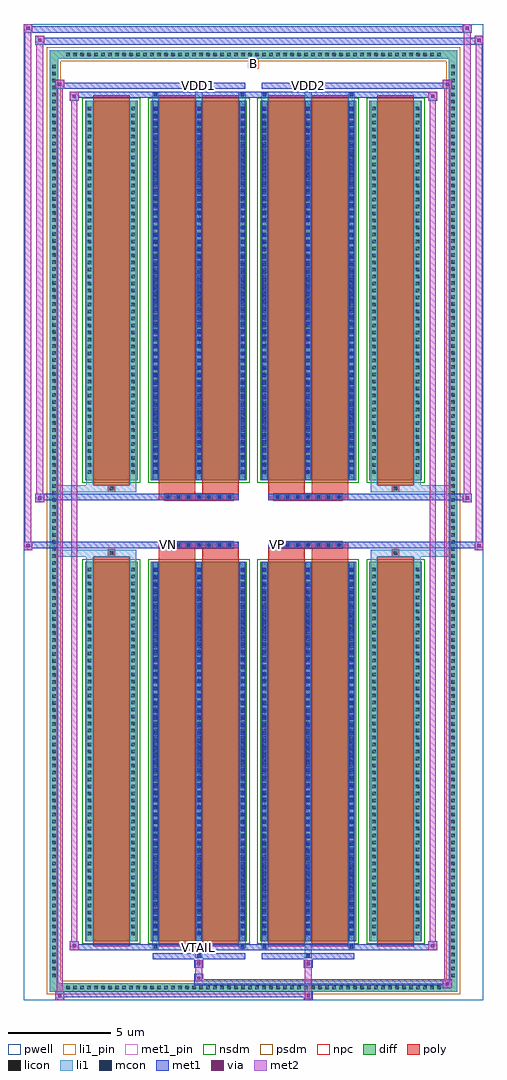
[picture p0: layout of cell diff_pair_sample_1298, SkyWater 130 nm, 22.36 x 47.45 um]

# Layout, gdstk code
import gdstk
lib = gdstk.Library(unit=1e-6, precision=5e-09)
def R(c, l, rs):  # rectangles x0, y0, x1, y1
    for r in rs: c.add(gdstk.rectangle(r[:2], r[2:], *l))
def A(c, l, x, y, w, h, nx, ny, dx, dy):  # array of equal rectangles
    R(c, l, [(x+i*dx, y+j*dy, x+i*dx+w, y+j*dy+h) for i in range(nx) for j in range(ny)])
def P(c, l, *ps):  # polygons
    for p in ps: c.add(gdstk.Polygon(p, *l))
pwell = (64, 44)
diff = (65, 20)
poly = (66, 20)
licon = (66, 44)
li1_pin = (67, 16)
li1 = (67, 20)
mcon = (67, 44)
met1_pin = (68, 16)
met1 = (68, 20)
via = (68, 44)
met2 = (69, 20)
nsdm = (93, 44)
psdm = (94, 20)
npc = (95, 20)

diff_pair_sample_1298 = lib.new_cell('diff_pair_sample_1298')
R(diff_pair_sample_1298, pwell, [(-11.18,-23.29,11.18,24.16), (-8.5,-21.48,-0.01,-0.8), (0.01,-21.48,8.5,-0.8), (-8.5,0.8,-0.01,21.48), (0.01,0.8,8.5,21.48)])
A(diff_pair_sample_1298, diff, -9.215, -22.89, 0.41, 0.41, 54, 2, 0.34, 45.37)
A(diff_pair_sample_1298, diff, -9.91, -22.305, 0.41, 0.41, 1, 131, 0, 0.34)
A(diff_pair_sample_1298, diff, 9.5, -22.305, 0.41, 0.41, 1, 131, 0, 0.34)
R(diff_pair_sample_1298, diff, [(-9.215,-22.89,9.215,-22.48), (-9.91,-22.305,-9.5,22.305), (9.5,-22.305,9.91,22.305), (-8.19,-20.435,-5.63,-1.985), (-4.99,-20.435,-0.32,-1.985), (0.32,-20.435,4.99,-1.985), (5.63,-20.435,8.19,-1.985), (-8.19,1.985,-5.63,20.435), (-4.99,1.985,-0.32,20.435), (0.32,1.985,4.99,20.435), (5.63,1.985,8.19,20.435), (-9.215,22.48,9.215,22.89)])
P(diff_pair_sample_1298, diff, [(9.91,22.89),(-9.91,22.89),(-9.91,-22.48),(-9.5,-22.48),(-9.5,22.48),(9.5,22.48),(9.5,-22.48),(-9.5,-22.48),(-9.91,-22.48),(-9.91,-22.89),(9.91,-22.89)])
A(diff_pair_sample_1298, poly, -4.32, -1.33, 0.33, 0.33, 7, 2, 0.5, 2.33)
A(diff_pair_sample_1298, poly, 0.99, -1.33, 0.33, 0.33, 7, 2, 0.5, 2.33)
R(diff_pair_sample_1298, poly, [(-7.8,-20.685,-6.02,-1.735), (-4.6,-20.685,-2.82,-1.735), (-2.49,-20.685,-0.71,-1.735), (0.71,-20.685,2.49,-1.735), (2.82,-20.685,4.6,-1.735), (6.02,-20.685,7.8,-1.735), (-7.075,-1.735,-6.745,-1.405), (-7.075,-1.735,-6.745,-1.405), (-4.6,-1.735,-2.82,-1.33), (-2.49,-1.735,-0.71,-1.33), (0.71,-1.735,2.49,-1.33), (2.82,-1.735,4.6,-1.33), (6.745,-1.735,7.075,-1.405), (6.745,-1.735,7.075,-1.405), (-4.6,-1.33,-0.71,-1), (0.71,-1.33,4.6,-1), (-4.6,1,-0.71,1.33), (0.71,1,4.6,1.33), (-4.6,1.33,-2.82,1.735), (-2.49,1.33,-0.71,1.735), (0.71,1.33,2.49,1.735), (2.82,1.33,4.6,1.735), (-7.075,1.405,-6.745,1.735), (-7.075,1.405,-6.745,1.735), (6.745,1.405,7.075,1.735), (6.745,1.405,7.075,1.735), (-7.8,1.735,-6.02,20.685), (-4.6,1.735,-2.82,20.685), (-2.49,1.735,-0.71,20.685), (0.71,1.735,2.49,20.685), (2.82,1.735,4.6,20.685), (6.02,1.735,7.8,20.685)])
A(diff_pair_sample_1298, licon, -9.095, -22.77, 0.17, 0.17, 54, 2, 0.34, 45.37)
A(diff_pair_sample_1298, licon, -9.79, -22.185, 0.17, 0.17, 1, 131, 0, 0.34)
A(diff_pair_sample_1298, licon, 9.62, -22.185, 0.17, 0.17, 1, 131, 0, 0.34)
A(diff_pair_sample_1298, licon, -8.05, -20.135, 0.17, 0.17, 1, 53, 0, 0.34)
A(diff_pair_sample_1298, licon, -5.94, -20.135, 0.17, 0.17, 1, 53, 0, 0.34)
A(diff_pair_sample_1298, licon, -4.85, -20.135, 0.17, 0.17, 3, 53, 2.11, 0.34)
A(diff_pair_sample_1298, licon, 0.46, -20.135, 0.17, 0.17, 3, 53, 2.11, 0.34)
A(diff_pair_sample_1298, licon, 5.77, -20.135, 0.17, 0.17, 1, 53, 0, 0.34)
A(diff_pair_sample_1298, licon, 7.88, -20.135, 0.17, 0.17, 1, 53, 0, 0.34)
A(diff_pair_sample_1298, licon, -4.24, -1.25, 0.17, 0.17, 7, 2, 0.5, 2.33)
A(diff_pair_sample_1298, licon, 1.07, -1.25, 0.17, 0.17, 7, 2, 0.5, 2.33)
A(diff_pair_sample_1298, licon, -8.05, 2.285, 0.17, 0.17, 1, 53, 0, 0.34)
A(diff_pair_sample_1298, licon, -5.94, 2.285, 0.17, 0.17, 1, 53, 0, 0.34)
A(diff_pair_sample_1298, licon, -4.85, 2.285, 0.17, 0.17, 3, 53, 2.11, 0.34)
A(diff_pair_sample_1298, licon, 0.46, 2.285, 0.17, 0.17, 3, 53, 2.11, 0.34)
A(diff_pair_sample_1298, licon, 5.77, 2.285, 0.17, 0.17, 1, 53, 0, 0.34)
A(diff_pair_sample_1298, licon, 7.88, 2.285, 0.17, 0.17, 1, 53, 0, 0.34)
R(diff_pair_sample_1298, licon, [(-6.995,-1.655,-6.825,-1.485), (6.825,-1.655,6.995,-1.485), (-6.995,1.485,-6.825,1.655), (6.825,1.485,6.995,1.655)])
R(diff_pair_sample_1298, li1_pin, [(-0.25,21.98,0.25,22.48)])
A(diff_pair_sample_1298, li1, -9.175, -22.85, 0.33, 0.33, 54, 2, 0.34, 45.37)
A(diff_pair_sample_1298, li1, -9.87, -22.265, 0.33, 0.33, 1, 131, 0, 0.34)
A(diff_pair_sample_1298, li1, 9.54, -22.265, 0.33, 0.33, 1, 131, 0, 0.34)
A(diff_pair_sample_1298, li1, -4.93, -20.435, 0.33, 18.45, 3, 2, 2.11, 22.42)
A(diff_pair_sample_1298, li1, 0.38, -20.435, 0.33, 18.45, 3, 2, 2.11, 22.42)
A(diff_pair_sample_1298, li1, -8.13, -20.215, 0.33, 0.33, 1, 53, 0, 0.34)
A(diff_pair_sample_1298, li1, -6.02, -20.215, 0.33, 0.33, 1, 53, 0, 0.34)
A(diff_pair_sample_1298, li1, -4.93, -20.215, 0.33, 0.33, 3, 53, 2.11, 0.34)
A(diff_pair_sample_1298, li1, 0.38, -20.215, 0.33, 0.33, 3, 53, 2.11, 0.34)
A(diff_pair_sample_1298, li1, 5.69, -20.215, 0.33, 0.33, 1, 53, 0, 0.34)
A(diff_pair_sample_1298, li1, 7.8, -20.215, 0.33, 0.33, 1, 53, 0, 0.34)
A(diff_pair_sample_1298, li1, -4.85, -20.115, 0.17, 0.17, 3, 50, 2.11, 0.36)
A(diff_pair_sample_1298, li1, -4.85, -20.115, 0.17, 17.81, 3, 2, 2.11, 22.42)
A(diff_pair_sample_1298, li1, 0.46, -20.115, 0.17, 0.17, 3, 50, 2.11, 0.36)
A(diff_pair_sample_1298, li1, 0.46, -20.115, 0.17, 17.81, 3, 2, 2.11, 22.42)
A(diff_pair_sample_1298, li1, -4.32, -1.33, 0.33, 0.33, 7, 2, 0.5, 2.33)
A(diff_pair_sample_1298, li1, 0.99, -1.33, 0.33, 0.33, 7, 2, 0.5, 2.33)
A(diff_pair_sample_1298, li1, -8.13, 2.205, 0.33, 0.33, 1, 53, 0, 0.34)
A(diff_pair_sample_1298, li1, -6.02, 2.205, 0.33, 0.33, 1, 53, 0, 0.34)
A(diff_pair_sample_1298, li1, -4.93, 2.205, 0.33, 0.33, 3, 53, 2.11, 0.34)
A(diff_pair_sample_1298, li1, 0.38, 2.205, 0.33, 0.33, 3, 53, 2.11, 0.34)
A(diff_pair_sample_1298, li1, 5.69, 2.205, 0.33, 0.33, 1, 53, 0, 0.34)
A(diff_pair_sample_1298, li1, 7.8, 2.205, 0.33, 0.33, 1, 53, 0, 0.34)
A(diff_pair_sample_1298, li1, -4.85, 2.305, 0.17, 0.17, 3, 50, 2.11, 0.36)
A(diff_pair_sample_1298, li1, 0.46, 2.305, 0.17, 0.17, 3, 50, 2.11, 0.36)
R(diff_pair_sample_1298, li1, [(-9.91,-22.89,-9.5,-22.48), (-9.91,-22.89,-9.5,-22.48), (-9.5,-22.89,9.5,-22.48), (9.5,-22.89,9.91,-22.48), (9.5,-22.89,9.91,-22.48), (-9.91,-22.48,-9.5,22.48), (9.5,-22.48,9.91,22.48), (-2.82,-21.24,-2.49,-20.435), (-2.74,-21.24,-2.57,-21.07), (2.49,-21.24,2.82,-20.435), (2.57,-21.24,2.74,-21.07), (-4.93,-20.81,-4.6,-20.435), (-4.85,-20.81,-4.68,-20.64), (-0.71,-20.81,-0.38,-20.435), (-0.63,-20.81,-0.46,-20.64), (0.38,-20.81,0.71,-20.435), (0.46,-20.81,0.63,-20.64), (4.6,-20.81,4.93,-20.435), (4.68,-20.81,4.85,-20.64), (-8.13,-20.435,-7.8,-1.985), (-6.02,-20.435,-5.69,-1.985), (5.69,-20.435,6.02,-1.985), (7.8,-20.435,8.13,-1.985), (-8.13,-1.985,-7.8,-1.405), (-6.02,-1.985,-5.69,-1.405), (5.69,-1.985,6.02,-1.405), (7.8,-1.985,8.13,-1.405), (-9.91,-1.735,-7.075,-1.405), (-8.13,-1.735,-7.075,-1.405), (-7.075,-1.735,-6.745,-1.405), (-6.745,-1.735,-5.69,-1.405), (5.69,-1.735,6.745,-1.405), (6.745,-1.735,7.075,-1.405), (6.745,-1.735,9.91,-1.405), (7.075,-1.735,8.13,-1.405), (-9.91,1.405,-7.075,1.735), (-8.13,1.405,-7.075,1.735), (-8.13,1.405,-7.8,1.985), (-7.075,1.405,-6.745,1.735), (-6.745,1.405,-5.69,1.735), (-6.02,1.405,-5.69,1.985), (5.69,1.405,6.745,1.735), (5.69,1.405,6.02,1.985), (6.745,1.405,7.075,1.735), (6.745,1.405,9.91,1.735), (7.075,1.405,8.13,1.735), (7.8,1.405,8.13,1.985), (-8.13,1.985,-7.8,20.435), (-6.02,1.985,-5.69,20.435), (5.69,1.985,6.02,20.435), (7.8,1.985,8.13,20.435), (-4.93,20.435,-4.6,20.81), (-2.82,20.435,-2.49,21.24), (-0.71,20.435,-0.38,20.81), (0.38,20.435,0.71,20.81), (2.49,20.435,2.82,21.24), (4.6,20.435,4.93,20.81), (-4.85,20.64,-4.68,20.81), (-0.63,20.64,-0.46,20.81), (0.46,20.64,0.63,20.81), (4.68,20.64,4.85,20.81), (-2.74,21.07,-2.57,21.24), (2.57,21.07,2.74,21.24), (-9.91,22.48,-9.5,22.89), (-9.91,22.48,-9.5,22.89), (-9.5,22.48,9.5,22.89), (9.5,22.48,9.91,22.89), (9.5,22.48,9.91,22.89)])
A(diff_pair_sample_1298, mcon, -4.85, -20.115, 0.17, 0.17, 3, 50, 2.11, 0.36)
A(diff_pair_sample_1298, mcon, 0.46, -20.115, 0.17, 0.17, 3, 50, 2.11, 0.36)
A(diff_pair_sample_1298, mcon, -4.24, -1.25, 0.17, 0.17, 7, 2, 0.5, 2.33)
A(diff_pair_sample_1298, mcon, 1.07, -1.25, 0.17, 0.17, 7, 2, 0.5, 2.33)
A(diff_pair_sample_1298, mcon, -4.85, 2.305, 0.17, 0.17, 3, 50, 2.11, 0.36)
A(diff_pair_sample_1298, mcon, 0.46, 2.305, 0.17, 0.17, 3, 50, 2.11, 0.36)
R(diff_pair_sample_1298, mcon, [(-2.74,-21.24,-2.57,-21.07), (2.57,-21.24,2.74,-21.07), (-4.85,-20.81,-4.68,-20.64), (-0.63,-20.81,-0.46,-20.64), (0.46,-20.81,0.63,-20.64), (4.68,-20.81,4.85,-20.64), (-4.85,20.64,-4.68,20.81), (-0.63,20.64,-0.46,20.81), (0.46,20.64,0.63,20.81), (4.68,20.64,4.85,20.81), (-2.74,21.07,-2.57,21.24), (2.57,21.07,2.74,21.24)])
R(diff_pair_sample_1298, met1_pin, [(-2.79,-20.85,-2.52,-20.58), (-4.29,-1.29,-4.02,-1.02), (1.02,-1.29,1.29,-1.02), (-2.79,21.03,-2.52,21.3), (2.52,21.03,2.79,21.3)])
A(diff_pair_sample_1298, met1, -4.91, -20.435, 0.29, 18.45, 3, 2, 2.11, 22.42)
A(diff_pair_sample_1298, met1, 0.4, -20.435, 0.29, 18.45, 3, 2, 2.11, 22.42)
A(diff_pair_sample_1298, met1, -4.91, -20.175, 0.29, 0.29, 3, 50, 2.11, 0.36)
A(diff_pair_sample_1298, met1, 0.4, -20.175, 0.29, 0.29, 3, 50, 2.11, 0.36)
A(diff_pair_sample_1298, met1, -4.3, -1.31, 0.29, 0.29, 7, 2, 0.5, 2.33)
A(diff_pair_sample_1298, met1, 1.01, -1.31, 0.29, 0.29, 7, 2, 0.5, 2.33)
A(diff_pair_sample_1298, met1, -4.91, 2.245, 0.29, 0.29, 3, 50, 2.11, 0.36)
A(diff_pair_sample_1298, met1, 0.4, 2.245, 0.29, 0.29, 3, 50, 2.11, 0.36)
R(diff_pair_sample_1298, met1, [(-9.64,-23.29,-9.21,-22.86), (2.44,-23.29,2.87,-22.86), (-9.64,-23.15,2.87,-22.86), (9.21,-22.72,9.64,-22.29), (-2.87,-22.58,9.64,-22.29), (-2.87,-22.44,-2.44,-22.01), (-2.87,-21.73,-2.44,-21.3), (2.44,-21.73,2.87,-21.3), (-4.91,-21.3,-0.4,-21.01), (-2.8,-21.3,-2.51,-21.01), (0.4,-21.3,4.91,-21.01), (2.51,-21.3,2.8,-21.01), (-8.93,-20.87,-8.5,-20.44), (-8.93,-20.87,-4.91,-20.58), (-4.91,-20.87,-4.62,-20.58), (-4.91,-20.87,-0.4,-20.58), (-0.69,-20.87,-0.4,-20.58), (-0.4,-20.87,0.4,-20.58), (0.4,-20.87,0.69,-20.58), (0.4,-20.87,4.91,-20.58), (4.62,-20.87,4.91,-20.58), (4.91,-20.87,8.93,-20.58), (8.5,-20.87,8.93,-20.44), (-11.18,-1.43,-10.75,-1), (10.75,-1.43,11.18,-1), (-11.18,-1.33,-0.71,-1), (-4.6,-1.33,-0.71,-1), (0.71,-1.33,4.6,-1), (0.71,-1.33,11.18,-1), (-10.61,0.9,-10.18,1.33), (10.18,0.9,10.61,1.33), (-10.61,1,-4.6,1.33), (-4.6,1,-0.71,1.33), (0.71,1,4.6,1.33), (4.6,1,10.61,1.33), (-8.93,20.44,-8.5,20.87), (8.5,20.44,8.93,20.87), (-8.93,20.58,-4.91,20.87), (-4.91,20.58,-4.62,20.87), (-4.91,20.58,-0.4,20.87), (-0.69,20.58,-0.4,20.87), (-0.4,20.58,0.4,20.87), (0.4,20.58,0.69,20.87), (0.4,20.58,4.91,20.87), (4.62,20.58,4.91,20.87), (4.91,20.58,8.93,20.87), (-9.64,21.01,-9.21,21.44), (-9.64,21.01,-4.91,21.3), (-4.91,21.01,-0.4,21.3), (-2.8,21.01,-2.51,21.3), (0.4,21.01,4.91,21.3), (2.51,21.01,2.8,21.3), (4.91,21.01,9.64,21.3), (9.21,21.01,9.64,21.44), (-10.61,23.16,-10.18,23.59), (-10.61,23.16,-8.5,23.49), (-8.5,23.16,8.5,23.49), (8.5,23.16,11.18,23.49), (10.75,23.16,11.18,23.59), (-11.18,23.73,-10.75,24.16), (-11.18,23.73,-8.5,24.06), (-8.5,23.73,8.5,24.06), (8.5,23.73,10.61,24.06), (10.18,23.73,10.61,24.16)])
R(diff_pair_sample_1298, via, [(-9.5,-23.15,-9.35,-23), (2.58,-23.15,2.73,-23), (9.35,-22.58,9.5,-22.43), (-2.73,-22.3,-2.58,-22.15), (-2.73,-21.59,-2.58,-21.44), (2.58,-21.59,2.73,-21.44), (-8.79,-20.73,-8.64,-20.58), (8.64,-20.73,8.79,-20.58), (-11.04,-1.29,-10.89,-1.14), (10.89,-1.29,11.04,-1.14), (-10.47,1.04,-10.32,1.19), (10.32,1.04,10.47,1.19), (-8.79,20.58,-8.64,20.73), (8.64,20.58,8.79,20.73), (-9.5,21.15,-9.35,21.3), (9.35,21.15,9.5,21.3), (-10.47,23.3,-10.32,23.45), (10.89,23.3,11.04,23.45), (-11.04,23.87,-10.89,24.02), (10.32,23.87,10.47,24.02)])
R(diff_pair_sample_1298, met2, [(-9.64,-23.29,-9.21,-22.86), (-9.57,-23.29,-9.28,21.44), (-9.28,-23.29,-9.21,-22.86), (-9.59,-23.24,-9.26,-22.91), (2.49,-23.24,2.82,-22.91), (2.49,-22.91,2.82,-21.68), (9.21,-22.72,9.64,-22.29), (9.28,-22.72,9.57,21.44), (9.57,-22.72,9.64,-22.29), (9.26,-22.67,9.59,-22.34), (-2.82,-22.39,-2.49,-22.06), (-2.82,-22.06,-2.49,-21.68), (-2.82,-21.68,-2.49,-21.35), (2.49,-21.68,2.82,-21.35), (-8.93,-20.87,-8.5,-20.44), (-8.86,-20.87,-8.57,20.87), (-8.57,-20.87,-8.5,-20.44), (8.5,-20.87,8.93,-20.44), (8.57,-20.87,8.86,20.87), (8.86,-20.87,8.93,-20.44), (-8.88,-20.82,-8.55,-20.49), (8.55,-20.82,8.88,-20.49), (-11.18,-1.43,-10.75,-1), (-11.13,-1.43,-10.8,24.16), (-10.8,-1.43,-10.75,-1), (10.75,-1.43,11.18,-1), (10.8,-1.43,11.13,23.59), (11.13,-1.43,11.18,-1), (-11.13,-1.38,-10.8,-1.05), (10.8,-1.38,11.13,-1.05), (-10.61,0.9,-10.18,1.33), (-10.56,0.9,-10.23,23.59), (-10.23,0.9,-10.18,1.33), (10.18,0.9,10.61,1.33), (10.23,0.9,10.56,24.16), (10.56,0.9,10.61,1.33), (-10.56,0.95,-10.23,1.28), (10.23,0.95,10.56,1.28), (-8.93,20.44,-8.5,20.87), (-8.57,20.44,-8.5,20.87), (8.5,20.44,8.93,20.87), (8.86,20.44,8.93,20.87), (-8.88,20.49,-8.55,20.82), (8.55,20.49,8.88,20.82), (-9.64,21.01,-9.21,21.44), (-9.28,21.01,-9.21,21.44), (9.21,21.01,9.64,21.44), (9.57,21.01,9.64,21.44), (-9.59,21.06,-9.26,21.39), (9.26,21.06,9.59,21.39), (-10.61,23.16,-10.18,23.59), (-10.23,23.16,-10.18,23.59), (10.75,23.16,11.18,23.59), (11.13,23.16,11.18,23.59), (-10.56,23.21,-10.23,23.54), (10.8,23.21,11.13,23.54), (-11.18,23.73,-10.75,24.16), (-10.8,23.73,-10.75,24.16), (10.18,23.73,10.61,24.16), (10.56,23.73,10.61,24.16), (-11.13,23.78,-10.8,24.11), (10.23,23.78,10.56,24.11)])
R(diff_pair_sample_1298, nsdm, [(-8.32,-20.565,-5.5,-1.855), (-5.12,-20.565,-0.19,-1.855), (0.19,-20.565,5.12,-1.855), (5.5,-20.565,8.32,-1.855), (-8.32,1.855,-5.5,20.565), (-5.12,1.855,-0.19,20.565), (0.19,1.855,5.12,20.565), (5.5,1.855,8.32,20.565)])
P(diff_pair_sample_1298, psdm, [(10.04,23.02),(-10.04,23.02),(-10.04,-22.35),(-9.37,-22.35),(-9.37,22.35),(9.37,22.35),(9.37,-22.35),(-9.37,-22.35),(-10.04,-22.35),(-10.04,-23.02),(10.04,-23.02)])
A(diff_pair_sample_1298, npc, -4.34, -1.35, 0.37, 0.37, 7, 2, 0.5, 2.33)
A(diff_pair_sample_1298, npc, 0.97, -1.35, 0.37, 0.37, 7, 2, 0.5, 2.33)
R(diff_pair_sample_1298, npc, [(-7.095,-1.755,-6.725,-1.385), (6.725,-1.755,7.095,-1.385), (-4.34,-1.35,-3.47,-0.98), (-4.34,-1.35,-3.47,-0.98), (-3.84,-1.35,-2.97,-0.98), (-3.84,-1.35,-2.97,-0.98), (-3.34,-1.35,-2.47,-0.98), (-3.34,-1.35,-2.47,-0.98), (-2.84,-1.35,-1.97,-0.98), (-2.84,-1.35,-1.97,-0.98), (-2.34,-1.35,-1.47,-0.98), (-2.34,-1.35,-1.47,-0.98), (-1.84,-1.35,-0.97,-0.98), (-1.84,-1.35,-0.97,-0.98), (0.97,-1.35,1.84,-0.98), (0.97,-1.35,1.84,-0.98), (1.47,-1.35,2.34,-0.98), (1.47,-1.35,2.34,-0.98), (1.97,-1.35,2.84,-0.98), (1.97,-1.35,2.84,-0.98), (2.47,-1.35,3.34,-0.98), (2.47,-1.35,3.34,-0.98), (2.97,-1.35,3.84,-0.98), (2.97,-1.35,3.84,-0.98), (3.47,-1.35,4.34,-0.98), (3.47,-1.35,4.34,-0.98), (-4.34,0.98,-3.47,1.35), (-4.34,0.98,-3.47,1.35), (-3.84,0.98,-2.97,1.35), (-3.84,0.98,-2.97,1.35), (-3.34,0.98,-2.47,1.35), (-3.34,0.98,-2.47,1.35), (-2.84,0.98,-1.97,1.35), (-2.84,0.98,-1.97,1.35), (-2.34,0.98,-1.47,1.35), (-2.34,0.98,-1.47,1.35), (-1.84,0.98,-0.97,1.35), (-1.84,0.98,-0.97,1.35), (0.97,0.98,1.84,1.35), (0.97,0.98,1.84,1.35), (1.47,0.98,2.34,1.35), (1.47,0.98,2.34,1.35), (1.97,0.98,2.84,1.35), (1.97,0.98,2.84,1.35), (2.47,0.98,3.34,1.35), (2.47,0.98,3.34,1.35), (2.97,0.98,3.84,1.35), (2.97,0.98,3.84,1.35), (3.47,0.98,4.34,1.35), (3.47,0.98,4.34,1.35), (-7.095,1.385,-6.725,1.755), (6.725,1.385,7.095,1.755)])
diff_pair_sample_1298.add(gdstk.Label('VTAIL', (-2.655,-20.715), layer=68, texttype=5))
diff_pair_sample_1298.add(gdstk.Label('VN', (-4.155,-1.155), layer=68, texttype=5))
diff_pair_sample_1298.add(gdstk.Label('VP', (1.155,-1.155), layer=68, texttype=5))
diff_pair_sample_1298.add(gdstk.Label('B', (0,22.23), layer=67, texttype=5))
diff_pair_sample_1298.add(gdstk.Label('VDD2', (2.655,21.165), layer=68, texttype=5))
diff_pair_sample_1298.add(gdstk.Label('VDD1', (-2.655,21.165), layer=68, texttype=5))

lib.write_gds('diff_pair_sample_1298.gds')
